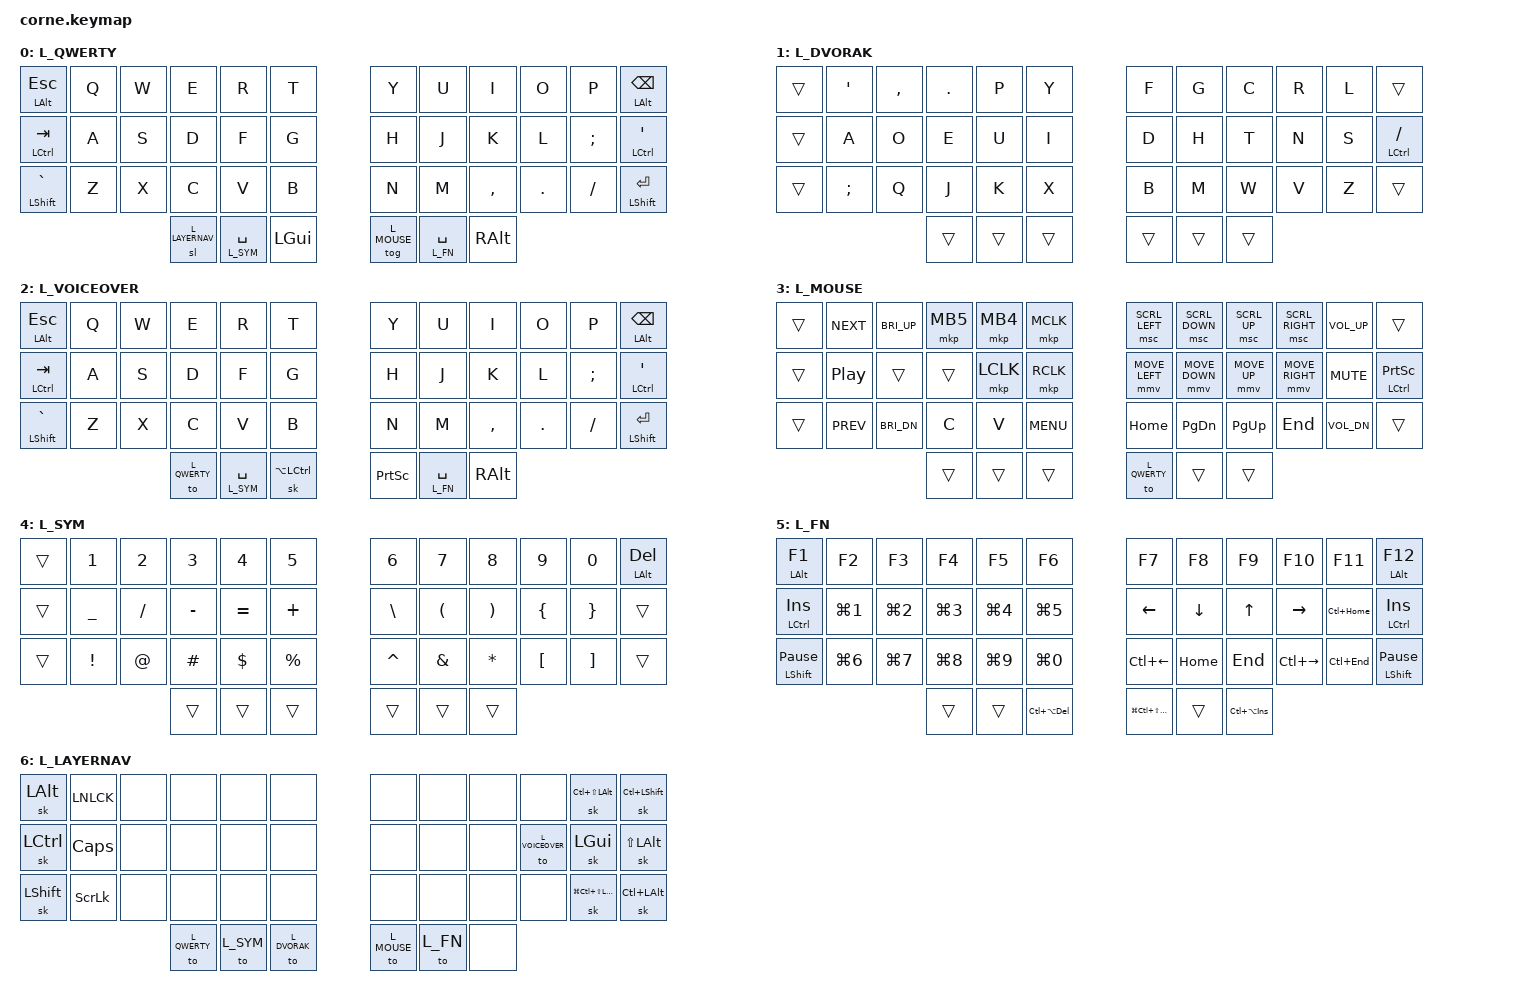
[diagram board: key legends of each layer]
/*
 * Copyright (c) 2020 The ZMK Contributors
 *
 * SPDX-License-Identifier: MIT
 */

#include <behaviors.dtsi>
#include <dt-bindings/zmk/bt.h>
#include <dt-bindings/zmk/keys.h>
#include <dt-bindings/zmk/mouse.h>
#include <dt-bindings/zmk/outputs.h>

#define L_QWERTY 0
#define L_DVORAK 1
#define L_VOICEOVER 2
#define L_MOUSE 3
#define L_SYM 4
#define L_FN 5
#define L_LAYERNAV 6

#undef ZMK_MOUSE_DEFAULT_MOVE_VAL
#define ZMK_MOUSE_DEFAULT_MOVE_VAL 2500
#undef ZMK_MOUSE_DEFAULT_SCRL_VAL
#define ZMK_MOUSE_DEFAULT_SCRL_VAL 125

#define KEYPOS_H 18
#define KEYPOS_J 19
#define KEYPOS_K 20
#define KEYPOS_L 21
#define KEYPOS_SEMI 22
#define KEYPOS_M 31
#define KEYPOS_N 30
#define KEYPOS_RALT 41

&mmv {
    acceleration-exponent=<1>;
    delay-ms=<0>;
    time-to-max-speed-ms=<500>;
};

&msc {
    acceleration-exponent=<1>;
    delay-ms=<0>;
    time-to-max-speed-ms=<1000>;
};

/ {
        keymap {
                compatible = "zmk,keymap";

                L_QWERTY {
                        bindings = <
    &mt LALT ESC    &kp Q    &kp W    &kp E    &kp R    &kp T    &kp Y    &kp U    &kp I    &kp O    &kp P    &mt LALT BSPC
    &mt LCTRL TAB    &kp A    &kp S    &kp D    &kp F    &kp G    &kp H    &kp J    &kp K    &kp L    &kp SEMI    &mt LCTRL SQT
    &mt LSHFT GRAVE    &kp Z    &kp X    &kp C    &kp V    &kp B    &kp N    &kp M    &kp COMMA    &kp DOT    &kp FSLH    &mt LSHFT RET
    &sl L_LAYERNAV    &lt L_SYM SPACE    &kp LGUI    &tog L_MOUSE    &lt L_FN SPACE    &kp RALT
                        >;
                };

                L_DVORAK {
                        bindings = <
    &trans    &kp SQT    &kp COMMA    &kp DOT    &kp P    &kp Y    &kp F    &kp G    &kp C    &kp R    &kp L    &trans
    &trans    &kp A    &kp O    &kp E    &kp U    &kp I    &kp D    &kp H    &kp T    &kp N    &kp S    &mt LCTRL FSLH
    &trans    &kp SEMI    &kp Q    &kp J    &kp K    &kp X    &kp B    &kp M    &kp W   &kp V    &kp Z    &trans
    &trans    &trans    &trans    &trans    &trans    &trans
                        >;
                };

                L_VOICEOVER {
                        bindings = <
    &mt LALT ESC    &kp Q    &kp W    &kp E    &kp R    &kp T    &kp Y    &kp U    &kp I    &kp O    &kp P    &mt LALT BSPC
    &mt LCTRL TAB    &kp A    &kp S    &kp D    &kp F    &kp G    &kp H    &kp J    &kp K    &kp L    &kp SEMI    &mt LCTRL SQT
    &mt LSHFT GRAVE    &kp Z    &kp X    &kp C    &kp V    &kp B    &kp N    &kp M    &kp COMMA    &kp DOT    &kp FSLH    &mt LSHFT RET
    &to L_QWERTY    &lt L_SYM SPC    &sk LA(LCTRL)    &kp PSCRN    &lt L_FN SPACE    &kp RALT
                        >;
                };

                L_MOUSE {
                        bindings = <
    &trans    &kp C_NEXT    &kp C_BRI_UP    &mkp MB5    &mkp MB4    &mkp MCLK    &msc SCRL_LEFT    &msc SCRL_DOWN    &msc SCRL_UP    &msc SCRL_RIGHT    &kp C_VOL_UP    &trans
    &trans    &kp C_PP    &trans    &trans    &mkp LCLK    &mkp RCLK    &mmv MOVE_LEFT    &mmv MOVE_DOWN    &mmv MOVE_UP    &mmv MOVE_RIGHT    &kp C_MUTE    &mt LCTRL PSCRN
    &trans    &kp C_PREV    &kp C_BRI_DN    &kp C    &kp V    &kp C_MENU    &kp HOME    &kp PG_DN    &kp PG_UP    &kp END    &kp C_VOL_DN    &trans
    &trans    &trans    &trans    &to L_QWERTY    &trans    &trans
                        >;
                };

                L_SYM {
                        bindings = <
    &trans    &kp N1    &kp N2    &kp N3    &kp N4    &kp N5    &kp N6    &kp N7    &kp N8    &kp N9    &kp N0  &mt LALT DEL
    &trans    &kp UNDER    &kp FSLH    &kp MINUS    &kp EQUAL    &kp PLUS    &kp BSLH    &kp LPAR    &kp RPAR    &kp LBRC    &kp RBRC    &trans
    &trans    &kp EXCL    &kp AT    &kp HASH    &kp DLLR    &kp PRCNT    &kp CARET    &kp AMPS    &kp ASTRK    &kp LBKT    &kp RBKT    &trans
    &trans    &trans    &trans    &trans    &trans    &trans
                        >;
                };

                L_FN {
                        bindings = <
    &mt LALT F1    &kp F2    &kp F3    &kp F4    &kp F5    &kp F6    &kp F7    &kp F8    &kp F9    &kp F10    &kp F11  &mt LALT F12
    &mt LCTRL INS    &kp LG(N1)    &kp LG(N2)    &kp LG(N3)    &kp LG(N4)    &kp LG(N5)    &kp LEFT    &kp DOWN    &kp UP    &kp RIGHT    &kp LC(HOME)    &mt LCTRL INS
    &mt LSHFT PAUSE_BREAK    &kp LG(N6)    &kp LG(N7)    &kp LG(N8)    &kp LG(N9)    &kp LG(N0)    &kp LC(LEFT)    &kp HOME    &kp END    &kp LC(RIGHT)    &kp LC(END)    &mt LSHFT PAUSE_BREAK
    &trans    &trans    &kp LC(LA(DEL))    &kp LG(LC(LS(LA(M))))    &trans    &kp LC(LA(INS))
                        >;
                };

                L_LAYERNAV {
                        bindings = <
    &sk LALT    &kp LNLCK    &none    &none    &none    &none    &none    &none    &none    &none    &sk LC(LS(LALT))    &sk LC(LSHFT)
    &sk LCTRL    &kp CLCK    &none    &none    &none    &none    &none    &none    &none    &to L_VOICEOVER    &sk LGUI    &sk LS(LALT)
    &sk LSHFT    &kp SLCK    &none    &none    &none    &none    &none    &none    &none    &none    &sk LG(LC(LS(LALT)))    &sk LC(LALT)
    &to L_QWERTY    &to L_SYM    &to L_DVORAK    &to L_MOUSE    &to L_FN    &none
                        >;
                };

        };

        combos {
               compatible = "zmk,combos";
               combo_bt_clr {
                         timeout-ms = <50>;
                         key-positions = <KEYPOS_RALT KEYPOS_H>;
                         layers = <L_LAYERNAV>;
                         bindings = <&bt BT_CLR>;
               };
               combo_bt_1 {
                         timeout-ms = <50>;
                         key-positions = <KEYPOS_RALT KEYPOS_J>;
                         layers = <L_LAYERNAV>;
                         bindings = <&bt BT_SEL 0>;
               };
               combo_bt_2 {
                         timeout-ms = <50>;
                         key-positions = <KEYPOS_RALT KEYPOS_K>;
                         layers = <L_LAYERNAV>;
                         bindings = <&bt BT_SEL 1>;
               };
               combo_bt_3 {
                         timeout-ms = <50>;
                         key-positions = <KEYPOS_RALT KEYPOS_L>;
                         layers = <L_LAYERNAV>;
                         bindings = <&bt BT_SEL 2>;
               };
               combo_bt_4 {
                         timeout-ms = <50>;
                         key-positions = <KEYPOS_RALT KEYPOS_SEMI>;
                         layers = <L_LAYERNAV>;
                         bindings = <&bt BT_SEL 3>;
               };
               combo_bt_5 {
                         timeout-ms = <50>;
                         key-positions = <KEYPOS_RALT KEYPOS_M>;
                         layers = <L_LAYERNAV>;
                         bindings = <&bt BT_SEL 4>;
               };
               combo_bt_out {
                         timeout-ms = <50>;
                         key-positions = <KEYPOS_RALT KEYPOS_N>;
                         layers = <L_LAYERNAV>;
                         bindings = <&out OUT_TOG>;
               };
        };
};
